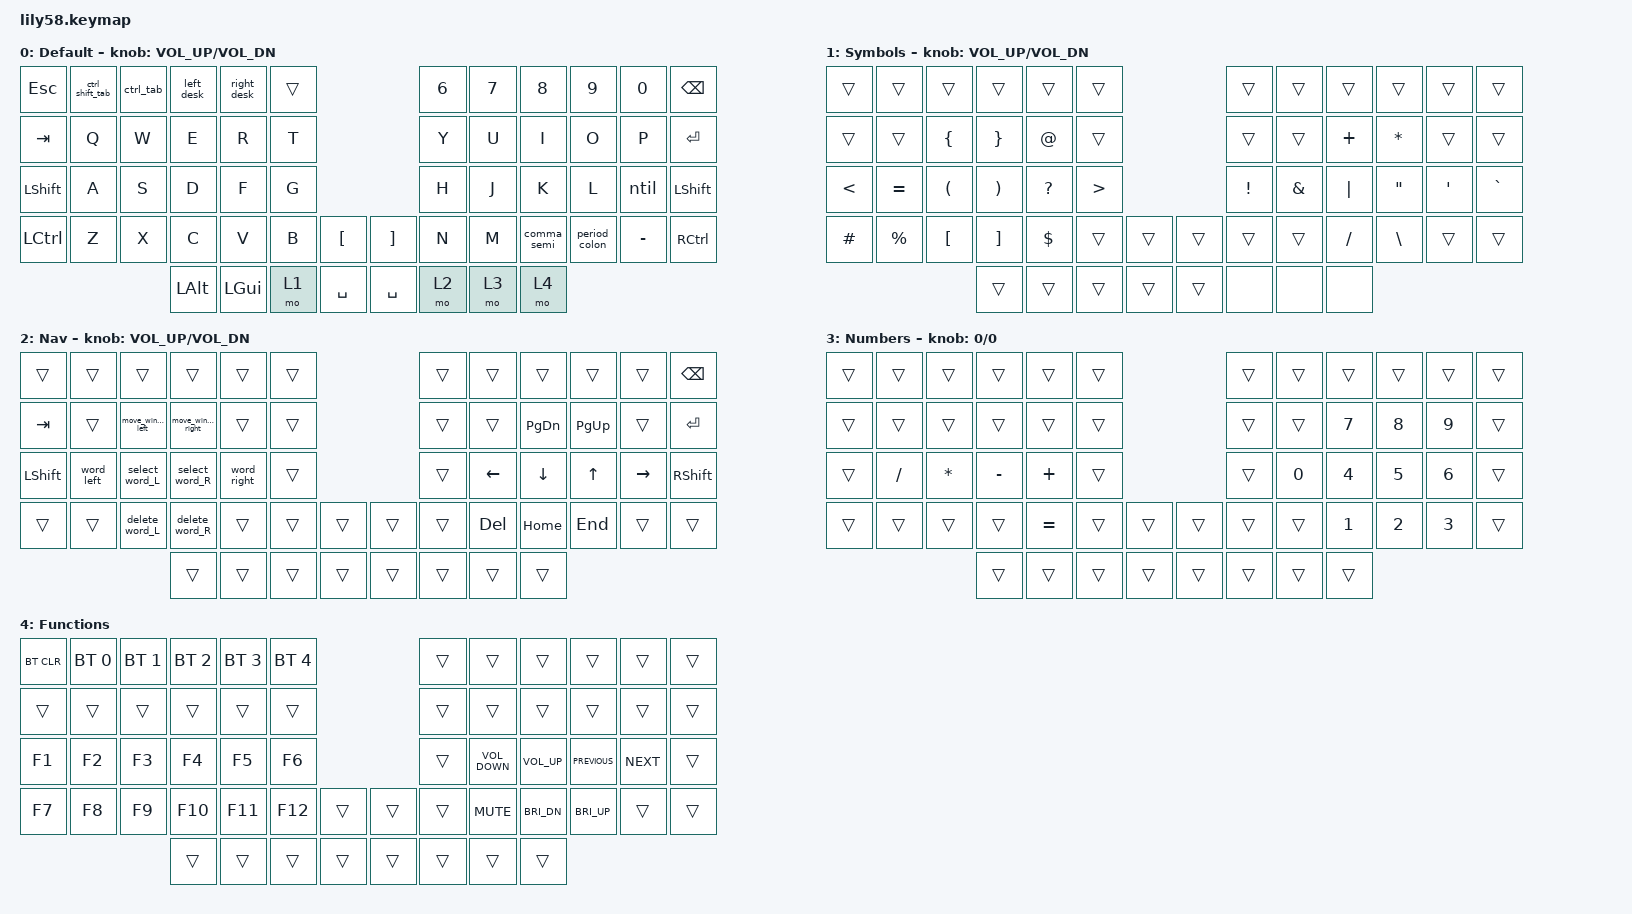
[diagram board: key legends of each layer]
#include <zmk-helpers/helper.h>
#include <behaviors.dtsi>
#include <dt-bindings/zmk/bt.h>
#include <dt-bindings/zmk/keys.h>

&mt {
    tapping-term-ms = <175>;
    flavor = "tap-preferred";
    quick-tap-ms = <175>;
};

/ {
    macros {
        word_left: word_left {
            compatible = "zmk,behavior-macro";
            #binding-cells = <0>;
            bindings = <&sk RCTRL &kp LEFT_ARROW>;
            label = "WORD_LEFT";
        };

        word_right: word_right {
            compatible = "zmk,behavior-macro";
            #binding-cells = <0>;
            bindings = <&sk RCTRL &kp RIGHT>;
            label = "WORD_RIGHT";
        };

        select_word_L: select_word {
            compatible = "zmk,behavior-macro";
            #binding-cells = <0>;
            bindings = <&kp LS(LC(LEFT))>;
            label = "SELECT_WORD";
        };

        delete_word_L: delete_word {
            compatible = "zmk,behavior-macro";
            #binding-cells = <0>;
            bindings = <&kp LC(BACKSPACE)>;
            label = "DELETE_WORD";
        };

        ZMK_MACRO(ntil,

        wait-ms = <0>;
        tap-ms = <0>;
        bindings =
            <&macro_press &kp LALT>,
            <&macro_tap &kp KP_N0 &kp KP_N2 &kp KP_N4 &kp KP_N1>,
            <&macro_release &kp LALT>;

        )

        ntil_cap: ntil_cap {
            compatible = "zmk,behavior-macro";
            #binding-cells = <0>;
            bindings = <&sk RALT &kp N4 &kp LS(N)>;
            label = "UC_NTIL_CAP";
            wait-ms = <5>;
            tap-ms = <5>;
        };

        ctrl_tab: ctrl_tab {
            compatible = "zmk,behavior-macro";
            #binding-cells = <0>;
            bindings = <&sk RCTRL &kp TAB>;
            label = "CTRL_TAB";
        };

        ctrl_shift_tab: ctrl_shift_tab {
            compatible = "zmk,behavior-macro";
            #binding-cells = <0>;
            bindings = <&sk LC(LEFT_SHIFT) &kp TAB>;
            label = "CTRL_SHIFT_TAB";
        };

        left_desk: left_desk {
            compatible = "zmk,behavior-macro";
            #binding-cells = <0>;
            bindings = <&sk LC(LGUI) &kp LEFT>;
            label = "LEFT_DESK";
        };

        right_desk: right_desk {
            compatible = "zmk,behavior-macro";
            #binding-cells = <0>;
            bindings = <&sk LC(LGUI) &kp RIGHT>;
            label = "RIGHT_DESK";
        };

        select_word_R: select_word_R {
            compatible = "zmk,behavior-macro";
            #binding-cells = <0>;
            bindings = <&kp LS(LC(RIGHT))>;
            label = "SELECT_WORD_R";
        };

        delete_word_R: delete_word_R {
            compatible = "zmk,behavior-macro";
            #binding-cells = <0>;
            bindings = <&kp LC(DELETE)>;
            label = "DELETE_WORD_R";
        };

        move_window_left: move_window_left {
            compatible = "zmk,behavior-macro";
            #binding-cells = <0>;
            bindings = <&sk LGUI &kp LEFT>;
            label = "MOVE_WINDOW_LEFT";
        };

        move_window_right: move_window_right {
            compatible = "zmk,behavior-macro";
            #binding-cells = <0>;
            bindings = <&sk LGUI &kp RIGHT>;
            label = "MOVE_WINDOW_RIGHT";
        };
    };

    behaviors {
        ntilde: ntilde {
            compatible = "zmk,behavior-mod-morph";
            label = "NTILDE";
            bindings = <&ntil>, <&ntil_cap>;

            #binding-cells = <0>;
            mods = <(MOD_LSFT|MOD_RSFT)>;
        };

        comma_semi: comma_semi {
            compatible = "zmk,behavior-mod-morph";
            label = "COMMA_SEMI";
            bindings = <&kp COMMA>, <&kp SEMI>;

            #binding-cells = <0>;
            mods = <(MOD_RSFT|MOD_LSFT)>;
        };

        period_colon: period_colon {
            compatible = "zmk,behavior-mod-morph";
            label = "PERIOD_COLON";
            bindings = <&kp PERIOD>, <&kp COLON>;

            #binding-cells = <0>;
            mods = <(MOD_LSFT|MOD_RSFT)>;
        };
    };

    keymap {
        compatible = "zmk,keymap";

        default_layer {
            // ------------------------------------------------------------------------------------------------------------
            // |  ESC  |  1  |  2  |  3   |  4   |  5   |                   |  6   |  7    |  8    |  9   |   0   |   `   |
            // |  TAB  |  Q  |  W  |  E   |  R   |  T   |                   |  Y   |  U    |  I    |  O   |   P   |   -   |
            // |  CTRL |  A  |  S  |  D   |  F   |  G   |                   |  H   |  J    |  K    |  L   |   ;   |   '   |
            // | SHIFT |  Z  |  X  |  C   |  V   |  B   |   "["  |  |  "]"  |  N   |  M    |  ,    |  .   |   /   | SHIFT |
            //                     | ALT  | GUI  | LOWER|  SPACE |  | ENTER | RAISE| BSPC  | GUI   |

            display-name = "Default";
            bindings = <
&kp ESC     &ctrl_shift_tab  &ctrl_tab  &left_desk  &right_desk   &trans                          &kp N6  &kp N7  &kp N8       &kp N9         &kp N0     &kp BACKSPACE
&kp TAB     &kp Q            &kp W      &kp E       &kp R         &kp T                           &kp Y   &kp U   &kp I        &kp O          &kp P      &kp ENTER
&kp LSHIFT  &kp A            &kp S      &kp D       &kp F         &kp G                           &kp H   &kp J   &kp K        &kp L          &ntil      &kp LEFT_SHIFT
&kp LCTRL   &kp Z            &kp X      &kp C       &kp V         &kp B   &kp LBKT     &kp RBKT   &kp N   &kp M   &comma_semi  &period_colon  &kp MINUS  &kp RCTRL
                                        &kp LALT    &kp LEFT_GUI  &mo 1   &kp SPACE    &kp SPACE  &mo 2   &mo 3   &mo 4
            >;

            sensor-bindings = <&inc_dec_kp C_VOL_UP C_VOL_DN>;
        };

        Symbols {
            // ------------------------------------------------------------------------------------------------------------
            // | BTCLR | BT1 | BT2 |  BT3 |  BT4 |  BT5 |                   |      |       |       |      |       |       |
            // |  F1   |  F2 |  F3 |  F4  |  F5  |  F6  |                   |  F7  |  F8   |  F9   |  F10 |  F11  |  F12  |
            // |   `   |  !  |  @  |  #   |  $   |  %   |                   |  ^   |  &    |  *    |  (   |   )   |   ~   |
            // |       |     |     |      |      |      |        |  |       |      |  _    |  +    |  {   |   }   |  "|"  |
            //                     |      |      |      |        |  |       |      |       |       |

            display-name = "Symbols";
            bindings = <
&trans         &trans     &trans    &trans    &trans        &trans                              &trans    &trans         &trans     &trans             &trans            &trans
&trans         &trans     &kp LBRC  &kp RBRC  &kp AT        &trans                              &trans    &trans         &kp PLUS   &kp ASTERISK       &trans            &trans
&kp LESS_THAN  &kp EQUAL  &kp LPAR  &kp RPAR  &kp QUESTION  &kp GREATER_THAN                    &kp EXCL  &kp AMPERSAND  &kp PIPE   &kp DOUBLE_QUOTES  &kp SINGLE_QUOTE  &kp GRAVE
&kp HASH       &kp PRCNT  &kp LBKT  &kp RBKT  &kp DOLLAR    &trans            &trans    &trans  &trans    &trans         &kp SLASH  &kp BACKSLASH      &trans            &trans
                                    &trans    &trans        &trans            &trans    &trans  &none     &none          &none
            >;

            sensor-bindings = <&inc_dec_kp C_VOL_UP C_VOL_DN>;
        };

        Nav {
            // ------------------------------------------------------------------------------------------------------------
            // |       |     |     |      |      |      |                   |      |       |       |      |       |       |
            // |   `   |  1  |  2  |  3   |  4   |  5   |                   |  6   |   7   |   8   |  9   |   0   |       |
            // |   F1  |  F2 |  F3 |  F4  |  F5  |  F6  |                   |      |   <-  |   v   |  ^   |  ->   |       |
            // |   F7  |  F8 |  F9 |  F10 |  F11 |  F12 |        |  |       |  +   |   -   |   =   |  [   |   ]   |   \   |
            //                     |      |      |      |        |  |       |      |       |       |

            display-name = "Nav";
            bindings = <
&trans          &trans      &trans             &trans              &trans       &trans                    &trans  &trans      &trans         &trans        &trans     &kp BACKSPACE
&kp TAB         &trans      &move_window_left  &move_window_right  &trans       &trans                    &trans  &trans      &kp PAGE_DOWN  &kp PAGE_UP   &trans     &kp ENTER
&kp LEFT_SHIFT  &word_left  &select_word_L     &select_word_R      &word_right  &trans                    &trans  &kp LEFT    &kp DOWN       &kp UP_ARROW  &kp RIGHT  &kp RIGHT_SHIFT
&trans          &trans      &delete_word_L     &delete_word_R      &trans       &trans  &trans    &trans  &trans  &kp DELETE  &kp HOME       &kp END       &trans     &trans
                                               &trans              &trans       &trans  &trans    &trans  &trans  &trans      &trans
            >;

            sensor-bindings = <&inc_dec_kp C_VOL_UP C_VOL_DN>;
        };

        Numbers {
            bindings = <
&trans  &trans     &trans    &trans     &trans     &trans                    &trans  &trans  &trans  &trans  &trans  &trans
&trans  &trans     &trans    &trans     &trans     &trans                    &trans  &trans  &kp N7  &kp N8  &kp N9  &trans
&trans  &kp SLASH  &kp STAR  &kp MINUS  &kp PLUS   &trans                    &trans  &kp N0  &kp N4  &kp N5  &kp N6  &trans
&trans  &trans     &trans    &trans     &kp EQUAL  &trans  &trans    &trans  &trans  &trans  &kp N1  &kp N2  &kp N3  &trans
                             &trans     &trans     &trans  &trans    &trans  &trans  &trans  &trans
            >;

            label = "Numbers";
            sensor-bindings = <&inc_dec_kp 0 0>;
        };

        Functions {
            bindings = <
&bt BT_CLR  &bt BT_SEL 0  &bt BT_SEL 1  &bt BT_SEL 2  &bt BT_SEL 3  &bt BT_SEL 4                    &trans  &trans             &trans           &trans          &trans      &trans
&trans      &trans        &trans        &trans        &trans        &trans                          &trans  &trans             &trans           &trans          &trans      &trans
&kp F1      &kp F2        &kp F3        &kp F4        &kp F5        &kp F6                          &trans  &kp C_VOLUME_DOWN  &kp C_VOLUME_UP  &kp C_PREVIOUS  &kp C_NEXT  &trans
&kp F7      &kp F8        &kp F9        &kp F10       &kp F11       &kp F12       &trans    &trans  &trans  &kp C_MUTE         &kp C_BRI_DN     &kp C_BRI_UP    &trans      &trans
                                        &trans        &trans        &trans        &trans    &trans  &trans  &trans             &trans
            >;

            label = "Functions";
        };
    };
};
